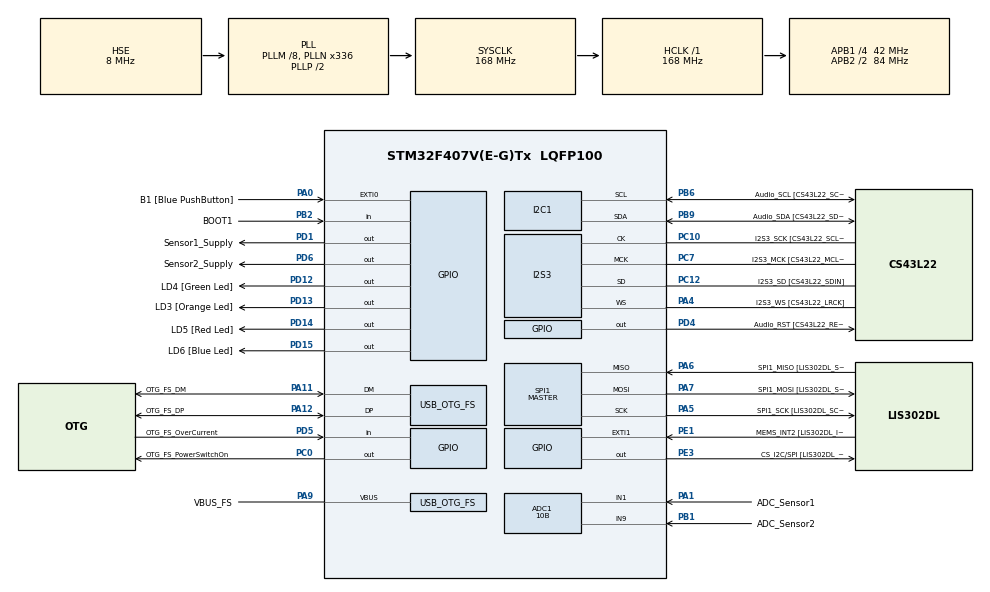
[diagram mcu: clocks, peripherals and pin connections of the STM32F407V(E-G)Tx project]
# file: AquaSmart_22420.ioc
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ADC1.Channel-4\#ChannelRegularConversion=ADC_CHANNEL_1
ADC1.ContinuousConvMode=DISABLE
ADC1.InjNumberOfConversion=0
ADC1.NbrOfConversion=1
ADC1.NbrOfConversionFlag=1
ADC1.Rank-4\#ChannelRegularConversion=1
ADC1.Resolution=ADC_RESOLUTION_10B
ADC1.SamplingTime-4\#ChannelRegularConversion=ADC_SAMPLETIME_3CYCLES
ADC1.master=1
FREERTOS.Queues01=myQueueSensor1,1,sensor_t,0,Dynamic,NULL,NULL;myQueueSensor2,2,sensor_t,0,Dynamic,NULL,NULL
FREERTOS.Tasks01=defaultTask,24,512,StartDefaultTask,Default,NULL,Dynamic,NULL,NULL;myTaskSensor1,12,512,StartTaskSensor1,Default,fsm_s1,Dynamic,NULL,NULL;myTaskLoRa,10,512,StartTaskLoRa,Default,NULL,Dynamic,NULL,NULL;myTaskSensor2,12,512,StartTaskSensor2,Default,fsm_s2,Dynamic,NULL,NULL;myTaskLEDs,11,512,StartTaskLEDs,Default,NULL,Dynamic,NULL,NULL
FREERTOS.configTICK_RATE_HZ=1000
FREERTOS.configUSE_TICKLESS_IDLE=1
I2S3.AudioFreq-Half_Duplex_Master=I2S_AUDIOFREQ_96K
I2S3.ErrorAudioFreq=-2.34 %
I2S3.ErrorAudioFreq-Half_Duplex_Master=0.8 %
I2S3.FullDuplexMode=I2S_FULLDUPLEXMODE_DISABLE
I2S3.Instance=SPI$Index
I2S3.RealAudioFreq=93.75 KHz
I2S3.RealAudioFreq-Half_Duplex_Master=96.774 KHz
I2S3.VirtualMode=I2S_MODE_MASTER
Mcu.Family=STM32F4
Mcu.Name=STM32F407V(E-G)Tx
Mcu.Package=LQFP100
NVIC.OTG_FS_IRQn=true\:5\:0\:false\:false\:true\:true\:true\:true
NVIC.PriorityGroup=NVIC_PRIORITYGROUP_4
PA0-WKUP.GPIO_Label=B1 [Blue PushButton]
PA0-WKUP.GPIO_ModeDefaultEXTI=GPIO_MODE_EVT_RISING
PA0-WKUP.GPIO_PuPd=GPIO_NOPULL
PA0-WKUP.Signal=GPXTI0
PA1.GPIO_Label=ADC_Sensor1
PA1.Signal=ADCx_IN1
PA10.GPIO_Label=OTG_FS_ID
PA10.GPIO_Mode=GPIO_MODE_AF_PP
PA10.GPIO_PuPd=GPIO_NOPULL
PA10.GPIO_Speed=GPIO_SPEED_FREQ_LOW
PA10.Signal=USB_OTG_FS_ID
PA11.GPIO_Label=OTG_FS_DM
PA11.GPIO_Mode=GPIO_MODE_AF_PP
PA11.GPIO_PuPd=GPIO_NOPULL
PA11.GPIO_Speed=GPIO_SPEED_FREQ_LOW
PA11.Mode=Host_Only
PA11.Signal=USB_OTG_FS_DM
PA12.GPIO_Label=OTG_FS_DP
PA12.GPIO_Mode=GPIO_MODE_AF_PP
PA12.GPIO_PuPd=GPIO_NOPULL
PA12.GPIO_Speed=GPIO_SPEED_FREQ_LOW
PA12.Mode=Host_Only
PA12.Signal=USB_OTG_FS_DP
PA13.GPIO_Label=SWDIO
PA13.Mode=Serial_Wire
PA13.Signal=SYS_JTMS-SWDIO
PA14.GPIO_Label=SWCLK
PA14.Mode=Serial_Wire
PA14.Signal=SYS_JTCK-SWCLK
PA4.GPIO_Label=I2S3_WS [CS43L22_LRCK]
PA4.GPIO_Mode=GPIO_MODE_AF_PP
PA4.GPIO_PuPd=GPIO_NOPULL
PA4.GPIO_Speed=GPIO_SPEED_FREQ_LOW
PA4.Mode=Half_Duplex_Master
PA4.Signal=I2S3_WS
PA5.GPIO_Label=SPI1_SCK [LIS302DL_SCL/SPC]
PA5.GPIO_Mode=GPIO_MODE_AF_PP
PA5.GPIO_PuPd=GPIO_NOPULL
PA5.GPIO_Speed=GPIO_SPEED_FREQ_LOW
PA5.Mode=Full_Duplex_Master
PA5.Signal=SPI1_SCK
PA6.GPIO_Label=SPI1_MISO [LIS302DL_SDO]
PA6.GPIO_Mode=GPIO_MODE_AF_PP
PA6.GPIO_PuPd=GPIO_NOPULL
PA6.GPIO_Speed=GPIO_SPEED_FREQ_LOW
PA6.Mode=Full_Duplex_Master
PA6.Signal=SPI1_MISO
PA7.GPIO_Label=SPI1_MOSI [LIS302DL_SDA/SDI/SDO]
PA7.GPIO_Mode=GPIO_MODE_AF_PP
PA7.GPIO_PuPd=GPIO_NOPULL
PA7.GPIO_Speed=GPIO_SPEED_FREQ_LOW
PA7.Mode=Full_Duplex_Master
PA7.Signal=SPI1_MOSI
PA9.GPIO_Label=VBUS_FS
PA9.GPIO_Mode=GPIO_MODE_INPUT
PA9.GPIO_PuPd=GPIO_NOPULL
PA9.Mode=Activate_VBUS
PA9.Signal=USB_OTG_FS_VBUS
PB1.GPIO_Label=ADC_Sensor2
PB1.Signal=ADCx_IN9
PB10.GPIO_Label=CLK_IN [MP45DT02_CLK]
PB10.GPIO_Mode=GPIO_MODE_AF_PP
PB10.GPIO_PuPd=GPIO_NOPULL
PB10.GPIO_Speed=GPIO_SPEED_FREQ_LOW
PB10.Signal=I2S2_CK
PB2.GPIO_Label=BOOT1
PB2.GPIO_Mode=GPIO_MODE_INPUT
PB2.GPIO_PuPd=GPIO_NOPULL
PB2.Signal=GPIO_Input
PB3.GPIO_Label=SWO
PB3.Signal=SYS_JTDO-SWO
PB6.GPIO_Label=Audio_SCL [CS43L22_SCL]
PB6.GPIO_Mode=GPIO_MODE_AF_OD
PB6.GPIO_PuPd=GPIO_NOPULL
PB6.GPIO_Speed=GPIO_SPEED_FREQ_LOW
PB6.Mode=I2C
PB6.Signal=I2C1_SCL
PB9.GPIO_Label=Audio_SDA [CS43L22_SDA]
PB9.GPIO_Mode=GPIO_MODE_AF_OD
PB9.GPIO_PuPd=GPIO_NOPULL
PB9.GPIO_Speed=GPIO_SPEED_FREQ_LOW
PB9.Mode=I2C
PB9.Signal=I2C1_SDA
PC0.GPIO_Label=OTG_FS_PowerSwitchOn
PC0.GPIO_PuPd=GPIO_NOPULL
PC0.GPIO_Speed=GPIO_SPEED_FREQ_LOW
PC0.PinState=GPIO_PIN_SET
PC0.Signal=GPIO_Output
PC10.GPIO_Label=I2S3_SCK [CS43L22_SCLK]
PC10.GPIO_Mode=GPIO_MODE_AF_PP
PC10.GPIO_PuPd=GPIO_NOPULL
PC10.GPIO_Speed=GPIO_SPEED_FREQ_LOW
PC10.Mode=Half_Duplex_Master
PC10.Signal=I2S3_CK
PC12.GPIO_Label=I2S3_SD [CS43L22_SDIN]
PC12.GPIO_Mode=GPIO_MODE_AF_PP
PC12.GPIO_PuPd=GPIO_NOPULL
PC12.GPIO_Speed=GPIO_SPEED_FREQ_LOW
PC12.Mode=Half_Duplex_Master
PC12.Signal=I2S3_SD
PC14-OSC32_IN.GPIO_Label=PC14-OSC32_IN
PC14-OSC32_IN.Mode=LSE-External-Oscillator
PC14-OSC32_IN.Signal=RCC_OSC32_IN
PC15-OSC32_OUT.GPIO_Label=PC15-OSC32_OUT
PC15-OSC32_OUT.Mode=LSE-External-Oscillator
PC15-OSC32_OUT.Signal=RCC_OSC32_OUT
PC3.GPIO_Label=PDM_OUT [MP45DT02_DOUT]
PC3.GPIO_Mode=GPIO_MODE_AF_PP
PC3.GPIO_PuPd=GPIO_NOPULL
PC3.GPIO_Speed=GPIO_SPEED_FREQ_LOW
PC3.Signal=I2S2_SD
PC7.GPIO_Label=I2S3_MCK [CS43L22_MCLK]
PC7.GPIO_Mode=GPIO_MODE_AF_PP
PC7.GPIO_PuPd=GPIO_NOPULL
PC7.GPIO_Speed=GPIO_SPEED_FREQ_LOW
PC7.Mode=Master_Clock_Activated
PC7.Signal=I2S3_MCK
PD1.GPIO_Label=Sensor1_Supply
PD1.Signal=GPIO_Output
PD12.GPIO_Label=LD4 [Green Led]
PD12.GPIO_PuPd=GPIO_NOPULL
PD12.GPIO_Speed=GPIO_SPEED_FREQ_LOW
PD12.Signal=GPIO_Output
PD13.GPIO_Label=LD3 [Orange Led]
PD13.GPIO_PuPd=GPIO_NOPULL
PD13.GPIO_Speed=GPIO_SPEED_FREQ_LOW
PD13.Signal=GPIO_Output
PD14.GPIO_Label=LD5 [Red Led]
PD14.GPIO_PuPd=GPIO_NOPULL
PD14.GPIO_Speed=GPIO_SPEED_FREQ_LOW
PD14.Signal=GPIO_Output
PD15.GPIO_Label=LD6 [Blue Led]
PD15.GPIO_PuPd=GPIO_NOPULL
PD15.GPIO_Speed=GPIO_SPEED_FREQ_LOW
PD15.Signal=GPIO_Output
PD4.GPIO_Label=Audio_RST [CS43L22_RESET]
PD4.GPIO_PuPd=GPIO_NOPULL
PD4.GPIO_Speed=GPIO_SPEED_FREQ_LOW
PD4.Signal=GPIO_Output
PD5.GPIO_Label=OTG_FS_OverCurrent
PD5.GPIO_Mode=GPIO_MODE_INPUT
PD5.GPIO_PuPd=GPIO_NOPULL
PD5.Signal=GPIO_Input
PD6.GPIO_Label=Sensor2_Supply
PD6.Signal=GPIO_Output
PE1.GPIO_Label=MEMS_INT2 [LIS302DL_INT2]
PE1.GPIO_ModeDefaultEXTI=GPIO_MODE_EVT_RISING
PE1.GPIO_PuPd=GPIO_NOPULL
PE1.Signal=GPXTI1
PE3.GPIO_Label=CS_I2C/SPI [LIS302DL_CS_I2C/SPI]
PE3.GPIO_PuPd=GPIO_NOPULL
PE3.GPIO_Speed=GPIO_SPEED_FREQ_LOW
PE3.Signal=GPIO_Output
PH0-OSC_IN.GPIO_Label=PH0-OSC_IN
PH0-OSC_IN.Mode=HSE-External-Clock-Source
PH0-OSC_IN.Signal=RCC_OSC_IN
PH1-OSC_OUT.GPIO_Label=PH1-OSC_OUT
PH1-OSC_OUT.Mode=HSE-External-Clock-Source
PH1-OSC_OUT.Signal=RCC_OSC_OUT
ProjectManager.HeapSize=0x200
ProjectManager.StackSize=0x400
ProjectManager.TargetToolchain=STM32CubeIDE
RCC.48MHZClocksFreq_Value=48000000
RCC.AHBFreq_Value=168000000
RCC.APB1CLKDivider=RCC_HCLK_DIV4
RCC.APB1Freq_Value=42000000
RCC.APB1TimFreq_Value=84000000
RCC.APB2CLKDivider=RCC_HCLK_DIV2
RCC.APB2Freq_Value=84000000
RCC.APB2TimFreq_Value=168000000
RCC.CortexFreq_Value=168000000
RCC.HCLKFreq_Value=168000000
RCC.HSE_VALUE=8000000
RCC.HSI_VALUE=16000000
RCC.PLLM=8
RCC.PLLN=336
RCC.PLLQ=7
RCC.SYSCLKFreq_VALUE=168000000
RCC.SYSCLKSource=RCC_SYSCLKSOURCE_PLLCLK
RCC.VCOOutputFreq_Value=336000000
SH.ADCx_IN1.0=ADC1_IN1,IN1
SH.ADCx_IN9.0=ADC1_IN9,IN9
SPI1.BaudRatePrescaler-Full_Duplex_Master=SPI_BAUDRATEPRESCALER_2
SPI1.CalculateBaudRate-Full_Duplex_Master=42.0 MBits/s
SPI1.Direction=SPI_DIRECTION_2LINES
SPI1.Mode=SPI_MODE_MASTER
SPI1.Mode-Full_Duplex_Master=SPI_MODE_MASTER
SPI1.VirtualType=VM_MASTER
USB_HOST.BSP.number=1
USB_HOST.USBH_HandleTypeDef-CDC_FS=hUsbHostFS
USB_HOST.USBH_USE_OS-CDC_FS=0
USB_HOST.VirtualModeFS=Cdc
USB_HOST0.BSP.STBoard=false
USB_HOST0.BSP.api=Unknown
USB_HOST0.BSP.i2caddr=0
USB_HOST0.BSP.i2creg=0
USB_HOST0.BSP.instance=PC0
USB_HOST0.BSP.ip=GPIO
USB_HOST0.BSP.mode=Output
USB_HOST0.BSP.name=Drive_VBUS_FS
USB_HOST0.BSP.solution=PC0
USB_OTG_FS.VirtualMode=Host_Only
USB_OTG_FS.phy_itface=HCD_PHY_EMBEDDED
VP_FREERTOS_VS_CMSIS_V2.Mode=CMSIS_V2
VP_USB_HOST_VS_USB_HOST_CDC_FS.Mode=CDC_FS
board=STM32F407G-DISC1

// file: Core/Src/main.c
/* USER CODE BEGIN Header */
/**
  ******************************************************************************
  * @file           : main.c
  * @brief          : Main program body
  ******************************************************************************
  * @attention
  *
  * <h2><center>&copy; Copyright (c) 2020 STMicroelectronics.
  * All rights reserved.</center></h2>
  *
  * This software component is licensed by ST under Ultimate Liberty license
  * SLA0044, the "License"; You may not use this file except in compliance with
  * the License. You may obtain a copy of the License at:
  *                             www.st.com/SLA0044
  *
  ******************************************************************************
  */
/* USER CODE END Header */

#include "main.h"
#include "cmsis_os.h"
#include "usb_host.h"

/* USER CODE BEGIN Includes */
#include "fsm.h"
#include "fsm_sensor.h"
#include "LoRa_comm.h"

/* USER CODE END Includes */

/* USER CODE BEGIN PD */

#define SENSOR1_TIME 	 400
#define SENSOR2_TIME 	 500
#define LEDS_TIME	 	 300
#define SEND_DATA_TIME 	 10000

/*ADC channels*/
#define ADC_Channel1 1
#define ADC_Channel2 2
#define ADC_Channel3 3
#define ADC_Channel4 4

/*PH sensor params*/
#define ID_ph_sensor 1

#define range_ph_acido 750 	 	// Only for test, real value is 2.
#define range_ph_basico 800		// Only for test, real value is 5.
#define range_ph_max 900		// Only for test, real value is 14.

#define ph_measure_period 600	// Test time to measure.
#define ph_sleep_period 5000	// Test time to sleep
#define ph_setup_period 1000		// Test time to setting up
#define ph_average 4			// number of measurements to make for 1 measure.

/*Turbidity sensor params*/
#define ID_turbidity_sensor 2

#define range_turb_min 750  	 	// Only for test.
#define range_turb_basico 800		// Only for test.
#define range_turb_max 900		// Only for test.

#define turb_measure_period 700	// Test time to measure.
#define turb_sleep_period 5500	// Test time to sleep
#define turb_setup_period 1000	// Test time to setting up
#define turb_average 4			// number of measurements to make for 1 measure.

/* USER CODE END PD */

ADC_HandleTypeDef hadc1;

I2C_HandleTypeDef hi2c1;

I2S_HandleTypeDef hi2s3;

SPI_HandleTypeDef hspi1;

/* Definitions for defaultTask */
osThreadId_t defaultTaskHandle;
const osThreadAttr_t defaultTask_attributes = {
  .name = "defaultTask",
  .priority = (osPriority_t) osPriorityNormal,
  .stack_size = 512 * 4
};
/* Definitions for myTaskSensor1 */
osThreadId_t myTaskSensor1Handle;
const osThreadAttr_t myTaskSensor1_attributes = {
  .name = "myTaskSensor1",
  .priority = (osPriority_t) osPriorityLow4,
  .stack_size = 512 * 4
};
/* Definitions for myTaskLoRa */
osThreadId_t myTaskLoRaHandle;
const osThreadAttr_t myTaskLoRa_attributes = {
  .name = "myTaskLoRa",
  .priority = (osPriority_t) osPriorityLow2,
  .stack_size = 512 * 4
};
/* Definitions for myTaskSensor2 */
osThreadId_t myTaskSensor2Handle;
const osThreadAttr_t myTaskSensor2_attributes = {
  .name = "myTaskSensor2",
  .priority = (osPriority_t) osPriorityLow4,
  .stack_size = 512 * 4
};
/* Definitions for myTaskLEDs */
osThreadId_t myTaskLEDsHandle;
const osThreadAttr_t myTaskLEDs_attributes = {
  .name = "myTaskLEDs",
  .priority = (osPriority_t) osPriorityLow3,
  .stack_size = 512 * 4
};
/* Definitions for myQueueSensor1 */
osMessageQueueId_t myQueueSensor1Handle;
const osMessageQueueAttr_t myQueueSensor1_attributes = {
  .name = "myQueueSensor1"
};
/* Definitions for myQueueSensor2 */
osMessageQueueId_t myQueueSensor2Handle;
const osMessageQueueAttr_t myQueueSensor2_attributes = {
  .name = "myQueueSensor2"
};
/* USER CODE BEGIN PV */

t_bool sensor1_ON, sensor2_ON;

/* USER CODE END PV */

void SystemClock_Config(void);
static void MX_GPIO_Init(void);
static void MX_I2C1_Init(void);
static void MX_I2S3_Init(void);
static void MX_SPI1_Init(void);
static void MX_ADC1_Init(void);
void StartDefaultTask(void *argument);
void StartTaskSensor1(void *argument);
void StartTaskLoRa(void *argument);
void StartTaskSensor2(void *argument);
void StartTaskLEDs(void *argument);

int main(void)
{
  /* USER CODE BEGIN 1 */
  fsm_sensor_t fsm_s1;
  fsm_sensor_t fsm_s2;

  //fsm_t* fsm_LoRa;

  /* USER CODE END 1 */

  /* MCU Configuration--------------------------------------------------------*/

  /* Reset of all peripherals, Initializes the Flash interface and the Systick. */
  HAL_Init();

  /* Configure the system clock */
  SystemClock_Config();

  /* Initialize all configured peripherals */
  MX_GPIO_Init();
  MX_I2C1_Init();
  MX_I2S3_Init();
  MX_SPI1_Init();
  MX_ADC1_Init();
  /* USER CODE BEGIN 2 */

  LoRa_initialization();

  /* USER CODE END 2 */

  /* Init scheduler */
  osKernelInitialize();

  /* Create the queue(s) */
  /* creation of myQueueSensor1 */
  myQueueSensor1Handle = osMessageQueueNew (1, sizeof(sensor_t), &myQueueSensor1_attributes);

  /* creation of myQueueSensor2 */
  myQueueSensor2Handle = osMessageQueueNew (2, sizeof(sensor_t), &myQueueSensor2_attributes);

  /* Create the thread(s) */
  /* creation of defaultTask */
  defaultTaskHandle = osThreadNew(StartDefaultTask, NULL, &defaultTask_attributes);

  /* creation of myTaskSensor1 */
  myTaskSensor1Handle = osThreadNew(StartTaskSensor1, &fsm_s1, &myTaskSensor1_attributes);

  /* creation of myTaskLoRa */
  myTaskLoRaHandle = osThreadNew(StartTaskLoRa, NULL, &myTaskLoRa_attributes);

  /* creation of myTaskSensor2 */
  myTaskSensor2Handle = osThreadNew(StartTaskSensor2, &fsm_s2, &myTaskSensor2_attributes);

  /* creation of myTaskLEDs */
  myTaskLEDsHandle = osThreadNew(StartTaskLEDs, NULL, &myTaskLEDs_attributes);

  /* Start scheduler */
  osKernelStart();

  /* We should never get here as control is now taken by the scheduler */
  /* Infinite loop */
  while (1)
  {

  }
}

void SystemClock_Config(void)
{
  RCC_OscInitTypeDef RCC_OscInitStruct = {0};
  RCC_ClkInitTypeDef RCC_ClkInitStruct = {0};
  RCC_PeriphCLKInitTypeDef PeriphClkInitStruct = {0};

  /** Configure the main internal regulator output voltage
  */
  __HAL_RCC_PWR_CLK_ENABLE();
  __HAL_PWR_VOLTAGESCALING_CONFIG(PWR_REGULATOR_VOLTAGE_SCALE1);
  /** Initializes the CPU, AHB and APB busses clocks
  */
  RCC_OscInitStruct.OscillatorType = RCC_OSCILLATORTYPE_HSE;
  RCC_OscInitStruct.HSEState = RCC_HSE_BYPASS;
  RCC_OscInitStruct.PLL.PLLState = RCC_PLL_ON;
  RCC_OscInitStruct.PLL.PLLSource = RCC_PLLSOURCE_HSE;
  RCC_OscInitStruct.PLL.PLLM = 8;
  RCC_OscInitStruct.PLL.PLLN = 336;
  RCC_OscInitStruct.PLL.PLLP = RCC_PLLP_DIV2;
  RCC_OscInitStruct.PLL.PLLQ = 7;
  if (HAL_RCC_OscConfig(&RCC_OscInitStruct) != HAL_OK)
  {
    Error_Handler();
  }
  /** Initializes the CPU, AHB and APB busses clocks
  */
  RCC_ClkInitStruct.ClockType = RCC_CLOCKTYPE_HCLK|RCC_CLOCKTYPE_SYSCLK
                              |RCC_CLOCKTYPE_PCLK1|RCC_CLOCKTYPE_PCLK2;
  RCC_ClkInitStruct.SYSCLKSource = RCC_SYSCLKSOURCE_PLLCLK;
  RCC_ClkInitStruct.AHBCLKDivider = RCC_SYSCLK_DIV1;
  RCC_ClkInitStruct.APB1CLKDivider = RCC_HCLK_DIV4;
  RCC_ClkInitStruct.APB2CLKDivider = RCC_HCLK_DIV2;

  if (HAL_RCC_ClockConfig(&RCC_ClkInitStruct, FLASH_LATENCY_5) != HAL_OK)
  {
    Error_Handler();
  }
  PeriphClkInitStruct.PeriphClockSelection = RCC_PERIPHCLK_I2S;
  PeriphClkInitStruct.PLLI2S.PLLI2SN = 192;
  PeriphClkInitStruct.PLLI2S.PLLI2SR = 2;
  if (HAL_RCCEx_PeriphCLKConfig(&PeriphClkInitStruct) != HAL_OK)
  {
    Error_Handler();
  }
}

static void MX_ADC1_Init(void)
{

  ADC_ChannelConfTypeDef sConfig = {0};

  /** Configure the global features of the ADC (Clock, Resolution, Data Alignment and number of conversion)
  */
  hadc1.Instance = ADC1;
  hadc1.Init.ClockPrescaler = ADC_CLOCK_SYNC_PCLK_DIV4;
  hadc1.Init.Resolution = ADC_RESOLUTION_10B;
  hadc1.Init.ScanConvMode = DISABLE;
  hadc1.Init.ContinuousConvMode = DISABLE;
  hadc1.Init.DiscontinuousConvMode = DISABLE;
  hadc1.Init.ExternalTrigConvEdge = ADC_EXTERNALTRIGCONVEDGE_NONE;
  hadc1.Init.ExternalTrigConv = ADC_SOFTWARE_START;
  hadc1.Init.DataAlign = ADC_DATAALIGN_RIGHT;
  hadc1.Init.NbrOfConversion = 1;
  hadc1.Init.DMAContinuousRequests = DISABLE;
  hadc1.Init.EOCSelection = ADC_EOC_SINGLE_CONV;
  if (HAL_ADC_Init(&hadc1) != HAL_OK)
  {
    Error_Handler();
  }
  /** Configure for the selected ADC regular channel its corresponding rank in the sequencer and its sample time.
  */
  sConfig.Channel = ADC_CHANNEL_1;
  sConfig.Rank = 1;
  sConfig.SamplingTime = ADC_SAMPLETIME_3CYCLES;
  if (HAL_ADC_ConfigChannel(&hadc1, &sConfig) != HAL_OK)
  {
    Error_Handler();
  }

}

static void MX_I2C1_Init(void)
{

  hi2c1.Instance = I2C1;
  hi2c1.Init.ClockSpeed = 100000;
  hi2c1.Init.DutyCycle = I2C_DUTYCYCLE_2;
  hi2c1.Init.OwnAddress1 = 0;
  hi2c1.Init.AddressingMode = I2C_ADDRESSINGMODE_7BIT;
  hi2c1.Init.DualAddressMode = I2C_DUALADDRESS_DISABLE;
  hi2c1.Init.OwnAddress2 = 0;
  hi2c1.Init.GeneralCallMode = I2C_GENERALCALL_DISABLE;
  hi2c1.Init.NoStretchMode = I2C_NOSTRETCH_DISABLE;
  if (HAL_I2C_Init(&hi2c1) != HAL_OK)
  {
    Error_Handler();
  }

}

static void MX_I2S3_Init(void)
{

  hi2s3.Instance = SPI3;
  hi2s3.Init.Mode = I2S_MODE_MASTER_TX;
  hi2s3.Init.Standard = I2S_STANDARD_PHILIPS;
  hi2s3.Init.DataFormat = I2S_DATAFORMAT_16B;
  hi2s3.Init.MCLKOutput = I2S_MCLKOUTPUT_ENABLE;
  hi2s3.Init.AudioFreq = I2S_AUDIOFREQ_96K;
  hi2s3.Init.CPOL = I2S_CPOL_LOW;
  hi2s3.Init.ClockSource = I2S_CLOCK_PLL;
  hi2s3.Init.FullDuplexMode = I2S_FULLDUPLEXMODE_DISABLE;
  if (HAL_I2S_Init(&hi2s3) != HAL_OK)
  {
    Error_Handler();
  }

}

static void MX_SPI1_Init(void)
{

  /* SPI1 parameter configuration*/
  hspi1.Instance = SPI1;
  hspi1.Init.Mode = SPI_MODE_MASTER;
  hspi1.Init.Direction = SPI_DIRECTION_2LINES;
  hspi1.Init.DataSize = SPI_DATASIZE_8BIT;
  hspi1.Init.CLKPolarity = SPI_POLARITY_LOW;
  hspi1.Init.CLKPhase = SPI_PHASE_1EDGE;
  hspi1.Init.NSS = SPI_NSS_SOFT;
  hspi1.Init.BaudRatePrescaler = SPI_BAUDRATEPRESCALER_2;
  hspi1.Init.FirstBit = SPI_FIRSTBIT_MSB;
  hspi1.Init.TIMode = SPI_TIMODE_DISABLE;
  hspi1.Init.CRCCalculation = SPI_CRCCALCULATION_DISABLE;
  hspi1.Init.CRCPolynomial = 10;
  if (HAL_SPI_Init(&hspi1) != HAL_OK)
  {
    Error_Handler();
  }

}

static void MX_GPIO_Init(void)
{
  GPIO_InitTypeDef GPIO_InitStruct = {0};

  /* GPIO Ports Clock Enable */
  __HAL_RCC_GPIOE_CLK_ENABLE();
  __HAL_RCC_GPIOC_CLK_ENABLE();
  __HAL_RCC_GPIOH_CLK_ENABLE();
  __HAL_RCC_GPIOA_CLK_ENABLE();
  __HAL_RCC_GPIOB_CLK_ENABLE();
  __HAL_RCC_GPIOD_CLK_ENABLE();

  /*Configure GPIO pin Output Level */
  HAL_GPIO_WritePin(CS_I2C_SPI_GPIO_Port, CS_I2C_SPI_Pin, GPIO_PIN_RESET);

  /*Configure GPIO pin Output Level */
  HAL_GPIO_WritePin(OTG_FS_PowerSwitchOn_GPIO_Port, OTG_FS_PowerSwitchOn_Pin, GPIO_PIN_SET);

  /*Configure GPIO pin Output Level */
  HAL_GPIO_WritePin(GPIOD, LD4_Pin|LD3_Pin|LD5_Pin|LD6_Pin
                          |Sensor1_Supply_Pin|Audio_RST_Pin|Sensor2_Supply_Pin, GPIO_PIN_RESET);

  /*Configure GPIO pin : CS_I2C_SPI_Pin */
  GPIO_InitStruct.Pin = CS_I2C_SPI_Pin;
  GPIO_InitStruct.Mode = GPIO_MODE_OUTPUT_PP;
  GPIO_InitStruct.Pull = GPIO_NOPULL;
  GPIO_InitStruct.Speed = GPIO_SPEED_FREQ_LOW;
  HAL_GPIO_Init(CS_I2C_SPI_GPIO_Port, &GPIO_InitStruct);

  /*Configure GPIO pin : OTG_FS_PowerSwitchOn_Pin */
  GPIO_InitStruct.Pin = OTG_FS_PowerSwitchOn_Pin;
  GPIO_InitStruct.Mode = GPIO_MODE_OUTPUT_PP;
  GPIO_InitStruct.Pull = GPIO_NOPULL;
  GPIO_InitStruct.Speed = GPIO_SPEED_FREQ_LOW;
  HAL_GPIO_Init(OTG_FS_PowerSwitchOn_GPIO_Port, &GPIO_InitStruct);

  /*Configure GPIO pin : PDM_OUT_Pin */
  GPIO_InitStruct.Pin = PDM_OUT_Pin;
  GPIO_InitStruct.Mode = GPIO_MODE_AF_PP;
  GPIO_InitStruct.Pull = GPIO_NOPULL;
  GPIO_InitStruct.Speed = GPIO_SPEED_FREQ_LOW;
  GPIO_InitStruct.Alternate = GPIO_AF5_SPI2;
  HAL_GPIO_Init(PDM_OUT_GPIO_Port, &GPIO_InitStruct);

  /*Configure GPIO pin : B1_Pin */
  GPIO_InitStruct.Pin = B1_Pin;
  GPIO_InitStruct.Mode = GPIO_MODE_EVT_RISING;
  GPIO_InitStruct.Pull = GPIO_NOPULL;
  HAL_GPIO_Init(B1_GPIO_Port, &GPIO_InitStruct);

  /*Configure GPIO pin : BOOT1_Pin */
  GPIO_InitStruct.Pin = BOOT1_Pin;
  GPIO_InitStruct.Mode = GPIO_MODE_INPUT;
  GPIO_InitStruct.Pull = GPIO_NOPULL;
  HAL_GPIO_Init(BOOT1_GPIO_Port, &GPIO_InitStruct);

  /*Configure GPIO pin : CLK_IN_Pin */
  GPIO_InitStruct.Pin = CLK_IN_Pin;
  GPIO_InitStruct.Mode = GPIO_MODE_AF_PP;
  GPIO_InitStruct.Pull = GPIO_NOPULL;
  GPIO_InitStruct.Speed = GPIO_SPEED_FREQ_LOW;
  GPIO_InitStruct.Alternate = GPIO_AF5_SPI2;
  HAL_GPIO_Init(CLK_IN_GPIO_Port, &GPIO_InitStruct);

  /*Configure GPIO pins : LD4_Pin LD3_Pin LD5_Pin LD6_Pin
                           Sensor1_Supply_Pin Audio_RST_Pin Sensor2_Supply_Pin */
  GPIO_InitStruct.Pin = LD4_Pin|LD3_Pin|LD5_Pin|LD6_Pin
                          |Sensor1_Supply_Pin|Audio_RST_Pin|Sensor2_Supply_Pin;
  GPIO_InitStruct.Mode = GPIO_MODE_OUTPUT_PP;
  GPIO_InitStruct.Pull = GPIO_NOPULL;
  GPIO_InitStruct.Speed = GPIO_SPEED_FREQ_LOW;
  HAL_GPIO_Init(GPIOD, &GPIO_InitStruct);

  /*Configure GPIO pin : OTG_FS_OverCurrent_Pin */
  GPIO_InitStruct.Pin = OTG_FS_OverCurrent_Pin;
  GPIO_InitStruct.Mode = GPIO_MODE_INPUT;
  GPIO_InitStruct.Pull = GPIO_NOPULL;
  HAL_GPIO_Init(OTG_FS_OverCurrent_GPIO_Port, &GPIO_InitStruct);

  /*Configure GPIO pin : MEMS_INT2_Pin */
  GPIO_InitStruct.Pin = MEMS_INT2_Pin;
  GPIO_InitStruct.Mode = GPIO_MODE_EVT_RISING;
  GPIO_InitStruct.Pull = GPIO_NOPULL;
  HAL_GPIO_Init(MEMS_INT2_GPIO_Port, &GPIO_InitStruct);

}

void StartDefaultTask(void *argument)
{
  /* init code for USB_HOST */
  MX_USB_HOST_Init();
  for(;;)
  {
    osDelay(1);
  }
}

void StartTaskSensor1(void *argument)
{
  /* USER CODE BEGIN StartTaskSensor1 */
	uint32_t tDelay = 0;
	sensor_t sensor1;

	ADC_ChannelConfTypeDef sConfig = {0};

    fsm_sensor_t* fsm_s1 = (fsm_sensor_t*)argument;

    sensor_initialization(&sensor1, ID_ph_sensor, Sensor1_Supply_Pin, ADC_Channel1, range_ph_acido, range_ph_basico, range_ph_max, ph_setup_period, ph_sleep_period, ph_measure_period, ph_average);
    fsm_sensor_init(fsm_s1, &sensor1);

    tDelay = osKernelGetTickCount();
/* Infinite loop */
  /* Infinite loop */
  for(;;)
  {

	/*Select ADC Channel 1*/

	if(fsm_s1->fsm.current_state <= 4 && sensor2_ON == FALSE)
	{
		sensor1_ON = TRUE;
		sConfig.Channel = ADC_CHANNEL_1;
		sConfig.Rank = 1;
		sConfig.SamplingTime = ADC_SAMPLETIME_3CYCLES;

		if (HAL_ADC_ConfigChannel(&hadc1, &sConfig) != HAL_OK)
		{
			Error_Handler();
		}
		fsm_fire(&(fsm_s1->fsm));
		osMessageQueuePut (myQueueSensor1Handle, fsm_s1->param, 0, 0);
	}
	else sensor1_ON = FALSE;

	if(fsm_s1->fsm.current_state > 4)
	{
		fsm_fire(&(fsm_s1->fsm));
		osMessageQueuePut (myQueueSensor1Handle, fsm_s1->param, 0, 0);
	}
	//	HAL_GPIO_TogglePin(LD6_GPIO_Port, LD6_Pin);
    tDelay += pdMS_TO_TICKS(SENSOR1_TIME);
    osDelayUntil(tDelay);
  }
  /* USER CODE END StartTaskSensor1 */
}

void StartTaskLoRa(void *argument)
{
  /* USER CODE BEGIN StartTaskLoRa */
  uint32_t tDelay = 0;

  tDelay = osKernelGetTickCount();

  /* Infinite loop */
  for(;;)
  {

    send_data();

	tDelay += pdMS_TO_TICKS(SEND_DATA_TIME);
    osDelayUntil(tDelay);
  }
  /* USER CODE END StartTaskLoRa */
}

void StartTaskSensor2(void *argument)
{
  /* USER CODE BEGIN StartTaskSensor2 */
	uint32_t tDelay = 0;
	sensor_t sensor2;

	ADC_ChannelConfTypeDef sConfig = {0};

	fsm_sensor_t* fsm_s2 = (fsm_sensor_t*)argument;

	sensor_initialization(&sensor2, ID_turbidity_sensor, Sensor2_Supply_Pin, ADC_Channel2, range_turb_min, range_turb_basico, range_turb_max, turb_setup_period, turb_sleep_period, turb_measure_period, turb_average);
	fsm_sensor_init(fsm_s2, &sensor2);

	tDelay = osKernelGetTickCount();
	/* Infinite loop */
	/* Infinite loop */
	for(;;)
	{
		/*Select ADC Channel 2*/
		if(fsm_s2->fsm.current_state <= 4 && sensor1_ON == FALSE)
		{
			sensor2_ON = TRUE;
			sConfig.Channel = ADC_CHANNEL_9;
			sConfig.Rank = 1;
			sConfig.SamplingTime = ADC_SAMPLETIME_3CYCLES;

			if (HAL_ADC_ConfigChannel(&hadc1, &sConfig) != HAL_OK)
			{
				Error_Handler();
			}
			fsm_fire(&(fsm_s2->fsm));
			osMessageQueuePut (myQueueSensor2Handle, fsm_s2->param, 0, 0);
		}
		else sensor2_ON = FALSE;

		if(fsm_s2->fsm.current_state > 4)
		{
			fsm_fire(&(fsm_s2->fsm));

			osMessageQueuePut (myQueueSensor2Handle, fsm_s2->param, 0, 0);
		}

		tDelay += pdMS_TO_TICKS(SENSOR2_TIME);
		osDelayUntil(tDelay);
	}
  /* USER CODE END StartTaskSensor2 */
}

void StartTaskLEDs(void *argument)
{
  /* USER CODE BEGIN StartTaskLEDs */
	uint32_t tDelay = 0;
	sensor_t sensor1;
	sensor_t sensor2;

	tDelay = osKernelGetTickCount();

  /* Infinite loop */
  for(;;)
  {
		osMessageQueueGet (myQueueSensor1Handle, &sensor1, NULL, 0);
		osMessageQueueGet (myQueueSensor2Handle, &sensor2, NULL, 0);

		if(sensor1.measuring == TRUE || sensor2.measuring == TRUE) /*LED BLUE => MEASURING*/
		{
			HAL_GPIO_WritePin(LD6_GPIO_Port, LD6_Pin, SET);
			HAL_GPIO_WritePin(LD4_GPIO_Port, LD4_Pin, RESET);
		}
		else
		{
			if(sensor1.sleeping == TRUE && sensor2.sleeping == TRUE)
			{
				HAL_GPIO_WritePin(LD6_GPIO_Port, LD6_Pin, RESET);
				if(sensor1.error == TRUE || sensor2.error == TRUE) /*RED LED => SLEEPING SOMETHING WRONG*/
				{
					HAL_GPIO_WritePin(LD5_GPIO_Port, LD5_Pin, SET);
					HAL_GPIO_WritePin(LD4_GPIO_Port, LD4_Pin, RESET);
				}
				else	/*GREEN LED => SLEEPING ALL OK*/
				{
					HAL_GPIO_WritePin(LD5_GPIO_Port, LD5_Pin, RESET);
					HAL_GPIO_WritePin(LD4_GPIO_Port, LD4_Pin, SET);
				}

			}
			else /*STATE UNREACHABLE*/
			{
				HAL_GPIO_WritePin(LD6_GPIO_Port, LD6_Pin, RESET);
				HAL_GPIO_WritePin(LD4_GPIO_Port, LD4_Pin, RESET);
			}
		}

		if(sensor1.alarm == TRUE || sensor2.alarm == TRUE) HAL_GPIO_WritePin(LD3_GPIO_Port, LD3_Pin, SET);
		else HAL_GPIO_WritePin(LD3_GPIO_Port, LD3_Pin, RESET);

		tDelay += pdMS_TO_TICKS(SENSOR2_TIME);
	    osDelayUntil(tDelay);
  }
  /* USER CODE END StartTaskLEDs */
}

void Error_Handler(void)
{
}

/************************ (C) COPYRIGHT STMicroelectronics *****END OF FILE****/
